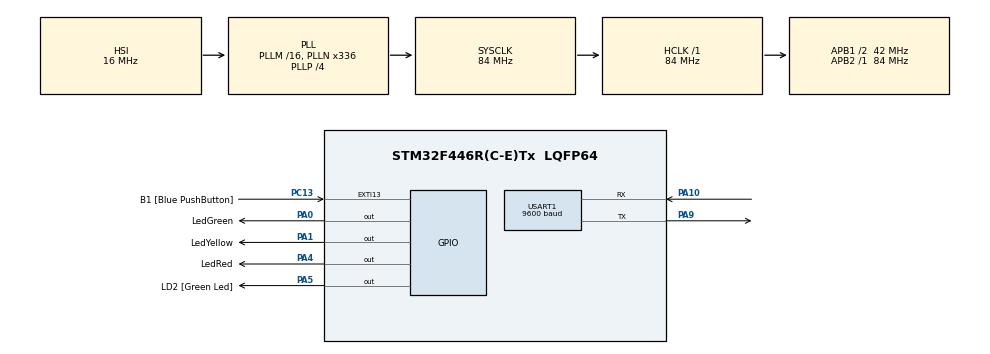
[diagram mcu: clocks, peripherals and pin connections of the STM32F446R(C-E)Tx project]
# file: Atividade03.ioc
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FREERTOS.Tasks01=MainTask,24,128,StartMainTask,Default,NULL,Dynamic,NULL,NULL;AuxTask,8,128,StartAuxTask,Default,NULL,Dynamic,NULL,NULL
FREERTOS.configUSE_NEWLIB_REENTRANT=1
Mcu.Family=STM32F4
Mcu.Name=STM32F446R(C-E)Tx
Mcu.Package=LQFP64
NVIC.PriorityGroup=NVIC_PRIORITYGROUP_4
NVIC.TIM1_UP_TIM10_IRQn=true\:15\:0\:false\:false\:true\:false\:false\:true\:true
NVIC.TimeBase=TIM1_UP_TIM10_IRQn
NVIC.TimeBaseIP=TIM1
PA0-WKUP.GPIO_Label=LedGreen
PA0-WKUP.GPIO_Speed=GPIO_SPEED_FREQ_HIGH
PA0-WKUP.Signal=GPIO_Output
PA1.GPIO_Label=LedYellow
PA1.Signal=GPIO_Output
PA10.Mode=Asynchronous
PA10.Signal=USART1_RX
PA13.GPIO_Label=TMS
PA13.Mode=Serial_Wire
PA13.Signal=SYS_JTMS-SWDIO
PA14.GPIO_Label=TCK
PA14.Mode=Serial_Wire
PA14.Signal=SYS_JTCK-SWCLK
PA2.GPIO_Label=USART_TX
PA2.Signal=USART2_TX
PA3.GPIO_Label=USART_RX
PA3.Signal=USART2_RX
PA4.GPIO_Label=LedRed
PA4.Signal=GPIO_Output
PA5.GPIO_Label=LD2 [Green Led]
PA5.Signal=GPIO_Output
PA9.Mode=Asynchronous
PA9.Signal=USART1_TX
PB3.GPIO_Label=SWO
PB3.Signal=SYS_JTDO-SWO
PC13.GPIO_Label=B1 [Blue PushButton]
PC13.GPIO_ModeDefaultEXTI=GPIO_MODE_IT_FALLING
PC13.Signal=GPXTI13
PC14-OSC32_IN.Mode=LSE-External-Oscillator
PC14-OSC32_IN.Signal=RCC_OSC32_IN
PC15-OSC32_OUT.Mode=LSE-External-Oscillator
PC15-OSC32_OUT.Signal=RCC_OSC32_OUT
PH0-OSC_IN.Mode=HSE-External-Oscillator
PH0-OSC_IN.Signal=RCC_OSC_IN
PH1-OSC_OUT.Mode=HSE-External-Oscillator
PH1-OSC_OUT.Signal=RCC_OSC_OUT
ProjectManager.HeapSize=0x200
ProjectManager.StackSize=0x400
ProjectManager.TargetToolchain=STM32CubeIDE
RCC.48MHZClocksFreq_Value=84000000
RCC.AHBFreq_Value=84000000
RCC.APB1CLKDivider=RCC_HCLK_DIV2
RCC.APB1Freq_Value=42000000
RCC.APB1TimFreq_Value=84000000
RCC.APB2Freq_Value=84000000
RCC.APB2TimFreq_Value=84000000
RCC.CortexFreq_Value=84000000
RCC.FLatency-AdvancedSettings=FLASH_LATENCY_2
RCC.HCLKFreq_Value=84000000
RCC.HSE_VALUE=8000000
RCC.HSI_VALUE=16000000
RCC.PLLN=336
RCC.PLLP=RCC_PLLP_DIV4
RCC.SYSCLKFreq_VALUE=84000000
RCC.SYSCLKSource=RCC_SYSCLKSOURCE_PLLCLK
RCC.USBFreq_Value=168000000
RCC.VCOOutputFreq_Value=336000000
USART1.BaudRate=9600
USART1.VirtualMode=VM_ASYNC
VP_FREERTOS_VS_CMSIS_V2.Mode=CMSIS_V2
VP_SYS_VS_tim1.Mode=TIM1
board=NUCLEO-F446RE

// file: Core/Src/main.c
/* USER CODE BEGIN Header */
/**
  ******************************************************************************
  * @file           : main.c
  * @brief          : Main program body
  ******************************************************************************
  * @attention
  *
  * Copyright (c) 2025 STMicroelectronics.
  * All rights reserved.
  *
  * This software is licensed under terms that can be found in the LICENSE file
  * in the root directory of this software component.
  * If no LICENSE file comes with this software, it is provided AS-IS.
  *
  ******************************************************************************
  */
/* USER CODE END Header */
#include "main.h"
#include "cmsis_os.h"

/* USER CODE BEGIN Includes */
#include<stdio.h>

/* USER CODE END Includes */

UART_HandleTypeDef huart1;

/* Definitions for TaskMain */
osThreadId_t TaskMainHandle;
const osThreadAttr_t TaskMain_attributes = {
  .name = "TaskMain",
  .stack_size = 128 * 4,
  .priority = (osPriority_t) osPriorityNormal,
};
/* Definitions for TaskAux */
osThreadId_t TaskAuxHandle;
const osThreadAttr_t TaskAux_attributes = {
  .name = "TaskAux",
  .stack_size = 128 * 4,
  .priority = (osPriority_t) osPriorityLow,
};

void SystemClock_Config(void);
static void MX_GPIO_Init(void);
static void MX_USART1_UART_Init(void);
void StartTaskMain(void *argument);
void StartTaskAux(void *argument);

int main(void)
{

  /* MCU Configuration--------------------------------------------------------*/

  /* Reset of all peripherals, Initializes the Flash interface and the Systick. */
  HAL_Init();

  /* Configure the system clock */
  SystemClock_Config();

  /* Initialize all configured peripherals */
  MX_GPIO_Init();
  MX_USART1_UART_Init();

  /* Init scheduler */
  osKernelInitialize();

  /* Create the thread(s) */
  /* creation of TaskMain */
  TaskMainHandle = osThreadNew(StartTaskMain, NULL, &TaskMain_attributes);

  /* creation of TaskAux */
  TaskAuxHandle = osThreadNew(StartTaskAux, NULL, &TaskAux_attributes);

  /* Start scheduler */
  osKernelStart();

  /* We should never get here as control is now taken by the scheduler */

  /* Infinite loop */
  while (1)
  {

  }
}

void SystemClock_Config(void)
{
  RCC_OscInitTypeDef RCC_OscInitStruct = {0};
  RCC_ClkInitTypeDef RCC_ClkInitStruct = {0};

  /** Configure the main internal regulator output voltage
  */
  __HAL_RCC_PWR_CLK_ENABLE();
  __HAL_PWR_VOLTAGESCALING_CONFIG(PWR_REGULATOR_VOLTAGE_SCALE3);

  /** Initializes the RCC Oscillators according to the specified parameters
  * in the RCC_OscInitTypeDef structure.
  */
  RCC_OscInitStruct.OscillatorType = RCC_OSCILLATORTYPE_HSI;
  RCC_OscInitStruct.HSIState = RCC_HSI_ON;
  RCC_OscInitStruct.HSICalibrationValue = RCC_HSICALIBRATION_DEFAULT;
  RCC_OscInitStruct.PLL.PLLState = RCC_PLL_ON;
  RCC_OscInitStruct.PLL.PLLSource = RCC_PLLSOURCE_HSI;
  RCC_OscInitStruct.PLL.PLLM = 16;
  RCC_OscInitStruct.PLL.PLLN = 336;
  RCC_OscInitStruct.PLL.PLLP = RCC_PLLP_DIV4;
  RCC_OscInitStruct.PLL.PLLQ = 2;
  RCC_OscInitStruct.PLL.PLLR = 2;
  if (HAL_RCC_OscConfig(&RCC_OscInitStruct) != HAL_OK)
  {
    Error_Handler();
  }

  /** Initializes the CPU, AHB and APB buses clocks
  */
  RCC_ClkInitStruct.ClockType = RCC_CLOCKTYPE_HCLK|RCC_CLOCKTYPE_SYSCLK
                              |RCC_CLOCKTYPE_PCLK1|RCC_CLOCKTYPE_PCLK2;
  RCC_ClkInitStruct.SYSCLKSource = RCC_SYSCLKSOURCE_PLLCLK;
  RCC_ClkInitStruct.AHBCLKDivider = RCC_SYSCLK_DIV1;
  RCC_ClkInitStruct.APB1CLKDivider = RCC_HCLK_DIV2;
  RCC_ClkInitStruct.APB2CLKDivider = RCC_HCLK_DIV1;

  if (HAL_RCC_ClockConfig(&RCC_ClkInitStruct, FLASH_LATENCY_2) != HAL_OK)
  {
    Error_Handler();
  }
}

static void MX_USART1_UART_Init(void)
{

  huart1.Instance = USART1;
  huart1.Init.BaudRate = 9600;
  huart1.Init.WordLength = UART_WORDLENGTH_8B;
  huart1.Init.StopBits = UART_STOPBITS_1;
  huart1.Init.Parity = UART_PARITY_NONE;
  huart1.Init.Mode = UART_MODE_TX_RX;
  huart1.Init.HwFlowCtl = UART_HWCONTROL_NONE;
  huart1.Init.OverSampling = UART_OVERSAMPLING_16;
  if (HAL_UART_Init(&huart1) != HAL_OK)
  {
    Error_Handler();
  }

}

static void MX_GPIO_Init(void)
{
  GPIO_InitTypeDef GPIO_InitStruct = {0};

  /* GPIO Ports Clock Enable */
  __HAL_RCC_GPIOC_CLK_ENABLE();
  __HAL_RCC_GPIOH_CLK_ENABLE();
  __HAL_RCC_GPIOA_CLK_ENABLE();
  __HAL_RCC_GPIOB_CLK_ENABLE();

  /*Configure GPIO pin Output Level */
  HAL_GPIO_WritePin(GPIOA, LedGreen_Pin|LedYellow_Pin|LedRed_Pin|LD2_Pin, GPIO_PIN_RESET);

  /*Configure GPIO pin : B1_Pin */
  GPIO_InitStruct.Pin = B1_Pin;
  GPIO_InitStruct.Mode = GPIO_MODE_IT_FALLING;
  GPIO_InitStruct.Pull = GPIO_NOPULL;
  HAL_GPIO_Init(B1_GPIO_Port, &GPIO_InitStruct);

  /*Configure GPIO pins : LedGreen_Pin LedYellow_Pin LedRed_Pin LD2_Pin */
  GPIO_InitStruct.Pin = LedGreen_Pin|LedYellow_Pin|LedRed_Pin|LD2_Pin;
  GPIO_InitStruct.Mode = GPIO_MODE_OUTPUT_PP;
  GPIO_InitStruct.Pull = GPIO_NOPULL;
  GPIO_InitStruct.Speed = GPIO_SPEED_FREQ_LOW;
  HAL_GPIO_Init(GPIOA, &GPIO_InitStruct);

  /*Configure GPIO pins : USART_TX_Pin USART_RX_Pin */
  GPIO_InitStruct.Pin = USART_TX_Pin|USART_RX_Pin;
  GPIO_InitStruct.Mode = GPIO_MODE_AF_PP;
  GPIO_InitStruct.Pull = GPIO_NOPULL;
  GPIO_InitStruct.Speed = GPIO_SPEED_FREQ_VERY_HIGH;
  GPIO_InitStruct.Alternate = GPIO_AF7_USART2;
  HAL_GPIO_Init(GPIOA, &GPIO_InitStruct);

}

void StartTaskMain(void *argument)
{
  /* USER CODE BEGIN 5 */
	osThreadState_t TaskMainState;
	int size;
	char message[100];
  /* Infinite loop */
  for(;;)
  {
	  TaskMainState = osThreadGetState(TaskMainHandle);
	  size =sprintf(message,"O Estado Atual da Main Task: %i\n ",TaskMainState);
	  HAL_UART_Transmit(&huart1,(uint8_t*)message, size,HAL_MAX_DELAY);

	  HAL_GPIO_WritePin(LedGreen_GPIO_Port, LedGreen_Pin, GPIO_PIN_SET);
	  HAL_GPIO_WritePin(LedYellow_GPIO_Port, LedYellow_Pin, GPIO_PIN_RESET);
	  HAL_GPIO_WritePin(LedRed_GPIO_Port, LedRed_Pin, GPIO_PIN_RESET);
	  osDelay(2000);

  }
  /* USER CODE END 5 */
}

void StartTaskAux(void *argument)
{
  /* USER CODE BEGIN StartTaskAux */
	osThreadState_t TaskMainState;
	int size;
	char message[100];
  /* Infinite loop */
  for(;;)
  {

	  if((TaskMainState = osThreadGetState(TaskMainHandle)) == 3) /*Se o Task Principal estiver Bloqueada*/
	  {
		  osDelay(2000);
		  size =sprintf(message,"Mensagem Enviada Pela AUX: O Estado Atual da Main Task: %i\n ",TaskMainState);
		  HAL_UART_Transmit(&huart1,(uint8_t*)message, size,HAL_MAX_DELAY);

		  vTaskSuspend(TaskMainHandle);
		  size =sprintf(message,"Mensagem Enviada Pela Aux: A Main Task Foi Suspensa e seu Estado: %i\n ",TaskMainState);
		  HAL_UART_Transmit(&huart1,(uint8_t*)message, size,HAL_MAX_DELAY);

		  HAL_GPIO_WritePin(LedGreen_GPIO_Port, LedGreen_Pin, GPIO_PIN_RESET);
		  HAL_GPIO_WritePin(LedYellow_GPIO_Port, LedYellow_Pin, GPIO_PIN_SET);
		  HAL_GPIO_WritePin(LedRed_GPIO_Port, LedRed_Pin, GPIO_PIN_RESET);
		  osDelay(2000);

		  HAL_GPIO_WritePin(LedGreen_GPIO_Port, LedGreen_Pin, GPIO_PIN_RESET);
		  HAL_GPIO_WritePin(LedYellow_GPIO_Port, LedYellow_Pin, GPIO_PIN_RESET);
		  HAL_GPIO_WritePin(LedRed_GPIO_Port, LedRed_Pin, GPIO_PIN_SET);
		  osDelay(2000);

		  size =sprintf(message,"Mensagem Enviada pela AUX: A Main Task Foi Retomada\n ");
		  HAL_UART_Transmit(&huart1,(uint8_t*)message, size,HAL_MAX_DELAY);
		  vTaskResume(TaskMainHandle);

	  }

  }
  /* USER CODE END StartTaskAux */
}

void HAL_TIM_PeriodElapsedCallback(TIM_HandleTypeDef *htim)
{
  if (htim->Instance == TIM1) {
    HAL_IncTick();
  }
}

void Error_Handler(void)
{
  __disable_irq();
  while (1)
  {
  }
}
